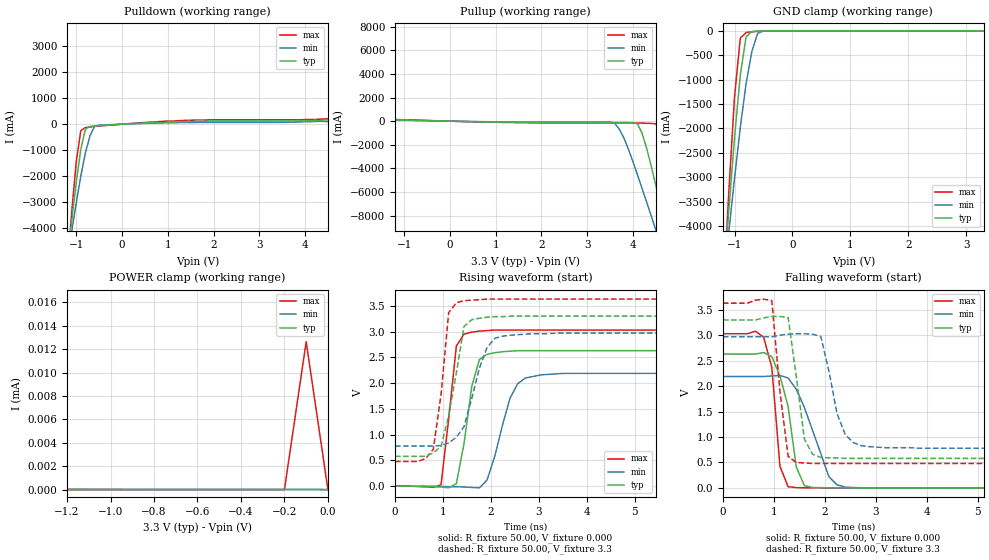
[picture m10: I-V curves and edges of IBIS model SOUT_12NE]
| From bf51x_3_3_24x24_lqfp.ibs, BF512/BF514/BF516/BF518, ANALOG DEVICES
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|   Model pupd_0812_25pad
[Model]   SOUT_12NE
Model_type   I/O
Polarity   Non-Inverting
Enable   Active-Low
Vinl =  0.40V
Vinh =   2.40V
Vmeas =   1.20V
Cref =  50.00pF
Rref =   1.00M
Vref =  0.000V
C_comp   6.17pF   6.12pF   6.22pF
[Temperature Range]   25.00   0.12k   -40.00
[Voltage Range]   3.30V   2.97V   3.63V
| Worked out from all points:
|   slope of the pulldown table from 0 to 0.495 V, typ, clamps not added: 10.5 ohm
|   slope of the pullup table from 0 to 0.495 V, typ, clamps not added: 12.2 ohm
|   GND clamp passes 1 mA (typ) near -0.46 V on its own axis
|   POWER clamp passes 1 mA (typ) near -3.01 V on its own axis
|   rising waveform, R_fixture 50.00, V_fixture 0.000: 20-80 % time 275ps typ, 393ps min, 214ps max; typ from 0.001 V to 2.63 V
|   rising waveform, R_fixture 50.00, V_fixture 3.3: 20-80 % time 324ps typ, 400ps min, 224ps max; typ from 0.58 V to 3.3 V
|   falling waveform, R_fixture 50.00, V_fixture 0.000: 20-80 % time 279ps typ, 480ps min, 159ps max; typ from 2.63 V to 0.001 V
|   falling waveform, R_fixture 50.00, V_fixture 3.3: 20-80 % time 217ps typ, 309ps min, 197ps max; typ from 3.3 V to 0.58 V
[Pulldown]
| voltage   I(typ)   I(min)   I(max)
-3.3V     -40.6A     -30.22A    -54.64A
-1.2V     -5.34A     -5.28A     -5.61A
-1.1V     -3.75A     -4.15A     -3.42A
-1V       -2.24A     -3.04A     -1.45A
-900mV    -970mA     -2A        -250mA
-800mV    -190mA     -1.11A     -130mA
-700mV    -85.26mA   -450mA     -110mA
-400mV    -43.03mA   -29.1mA    -56.72mA
6.2V      150mA      90.09mA    220mA
6.3V      150mA      92.13mA    410mA
6.4V      170mA      94.31mA    1.28A
6.6V      970mA      100mA      3.74A
[Pullup]
| voltage   I(typ)   I(min)   I(max)
-3.3V     820mA      2.28mA     7.93A
-2.8V     3.57mA     2.1mA      1.4A
-2.6V     3.49mA     2.05mA     17.7mA
3.6V      -110mA     -170mA     -160mA
3.8V      -110mA     -1.4A      -160mA
4.1V      -240mA     -4.55A     -160mA
4.3V      -2.3A      -6.85A     -180mA
4.5V      -5.42A     -9.2A      -230mA
4.6V      -7.05A     -10.38A    -1.04A
4.7V      -8.7A      -11.56A    -2.87A
5V        -13.71A    -15.12A    -9.57A
6.6V      -40.73A    -34.26A    -47.05A
[GND_clamp]
| voltage   I(typ)   I(min)   I(max)
-3.3V     -40.6A     -30.22A    -54.64A
-1.2V     -5.3A      -5.27A     -5.54A
-1.1V     -3.71A     -4.14A     -3.34A
-1V       -2.19A     -3.03A     -1.36A
-900mV    -910mA     -1.98A     -150mA
-800mV    -120mA     -1.08A     -34.86mA
-700mV    -16.96mA   -420mA     -20.26mA
-600mV    -6.23mA    -48.08mA   -8.86mA
-500mV    -1.44mA    -4.95mA    -1.99mA
3.3V      -230pA     21.07nA    -39.11uA
[POWER_clamp]
| voltage   I(typ)   I(min)   I(max)
-3.3V     810mA      270nA      7.93A
-3.2V     220mA      65.23nA    6.57A
-3V       290uA      45.6nA     3.89A
-2.9V     6.37uA     41.47nA    2.6A
-2.8V     180nA      38.38nA    1.39A
-2.7V     36.41nA    36.02nA    380mA
-2.5V     23.95nA    31.72nA    98.04uA
-2.4V     20.12nA    30.15nA    790nA
-2.3V     17.25nA    28.93nA    50.28nA
-200mV    370pA      20.65nA    470pA
-100mV    330pA      20.16nA    12.63uA
0V        -230pA     8.96nA     380pA
[Ramp]
| variable   typ   min   max
dV/dt_r   1.60/0.24n   1.34/0.38n   1.84/0.18n
dV/dt_f   1.67/0.18n   1.35/0.28n   1.94/0.14n
R_load = 50.00
[Rising Waveform]
R_fixture = 50.00
V_fixture = 0.000
V_fixture_min = 0.000
V_fixture_max = 0.000
L_fixture = 0.000H
C_fixture = 0.000F
| time   V(typ)   V(min)   V(max)
0s        910uV      800uV      1.09mV
960ps     -13.39mV   -3.31mV    25.79mV
1.28ns    49.82mV    -10.47mV   2.72V
1.44ns    830mV      -13.63mV   2.95V
1.6ns     1.93V      -23.07mV   2.99V
1.76ns    2.46V      -30.99mV   3.01V
1.92ns    2.56V      120mV      3.02V
2.4ns     2.62V      1.71V      3.03V
2.72ns    2.63V      2.1V       3.03V
8ns       2.63V      2.19V      3.03V
[Rising Waveform]
R_fixture = 50.00
V_fixture = 3.3
V_fixture_min = 2.97
V_fixture_max = 3.63
L_fixture = 0.000H
C_fixture = 0.000F
| time   V(typ)   V(min)   V(max)
0s        580mV      780mV      480mV
480ps     580mV      780mV      480mV
800ps     650mV      780mV      720mV
960ps     770mV      790mV      1.78V
1.12ns    1.37V      840mV      3.37V
1.28ns    2.2V       950mV      3.56V
1.44ns    3.1V       1.16V      3.6V
1.76ns    3.26V      2.29V      3.62V
2.08ns    3.29V      2.87V      3.63V
8ns       3.3V       2.97V      3.63V
[Falling Waveform]
R_fixture = 50.00
V_fixture = 0.000
V_fixture_min = 0.000
V_fixture_max = 0.000
L_fixture = 0.000H
C_fixture = 0.000F
| time   V(typ)   V(min)   V(max)
0s        2.63V      2.19V      3.03V
800ps     2.66V      2.19V      2.96V
960ps     2.58V      2.2V       2.37V
1.12ns    2.2V       2.21V      420mV
1.28ns    1.6V       2.16V      23.11mV
1.44ns    410mV      1.94V      5.9mV
1.6ns     43.38mV    1.58V      2.88mV
2.08ns    2.25mV     220mV      1.15mV
2.24ns    1.52mV     59.22mV    1.11mV
8ns       910uV      800uV      1.09mV
[Falling Waveform]
R_fixture = 50.00
V_fixture = 3.3
V_fixture_min = 2.97
V_fixture_max = 3.63
L_fixture = 0.000H
C_fixture = 0.000F
| time   V(typ)   V(min)   V(max)
0s        3.3V       2.97V      3.63V
960ps     3.37V      2.97V      3.68V
1.28ns    3.35V      3.02V      620mV
1.44ns    2.19V      3.03V      500mV
1.6ns     960mV      3.03V      490mV
1.76ns    660mV      3.02V      480mV
1.92ns    600mV      2.98V      480mV
2.4ns     580mV      1.05V      480mV
2.72ns    580mV      830mV      480mV
8ns       580mV      780mV      480mV
